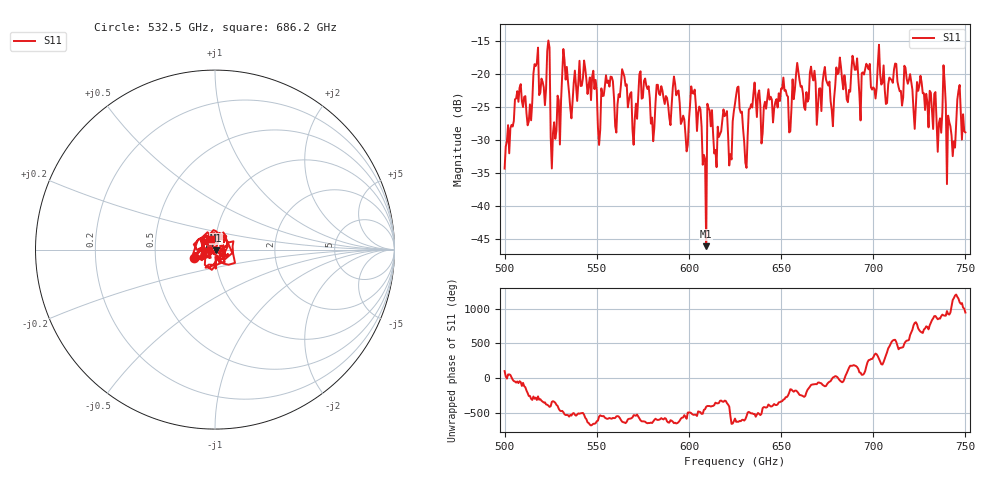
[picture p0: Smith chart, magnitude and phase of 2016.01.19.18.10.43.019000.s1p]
!Created with skrf (http://scikit-rf.org).
# GHz S RI R 50.0
!freq ReS11 ImS11
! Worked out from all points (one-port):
!   401 points, 500 GHz to 750 GHz, reference 50 ohm
!   lowest |S11| = -46.2 dB at 609.4 GHz (marker M1), VSWR 1.01, Z = 50.3 - j0.385 ohm
!   |S11| at or under -10 dB: start of sweep to end of sweep
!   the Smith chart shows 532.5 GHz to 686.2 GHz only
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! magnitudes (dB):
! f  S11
! 500 GHz  -34.4
! 507.5 GHz  -24.2
! 513.8 GHz  -24.6
! 516.9 GHz  -18.8
! 523.1 GHz  -16.5
! 526.2 GHz  -29.0
! 531.2 GHz  -20.2
! 548.8 GHz  -22.3
! 551.9 GHz  -28.5
! 562.5 GHz  -23.5
! 570.6 GHz  -26.8
! 574.4 GHz  -23.7
! 580.6 GHz  -30.2
! 583.8 GHz  -23.0
! 593.8 GHz  -22.7
! 598.8 GHz  -31.7
! 602.5 GHz  -23.0
! 608.1 GHz  -32.3
! 609.4 GHz  -46.2
! 611.2 GHz  -25.5
! 622.5 GHz  -32.2
! 625 GHz  -24.5
! 630.6 GHz  -33.5
! 635 GHz  -22.9
! 656.2 GHz  -20.8
! 687.5 GHz  -22.7
! 718.8 GHz  -21.5
! 750 GHz  -28.9
